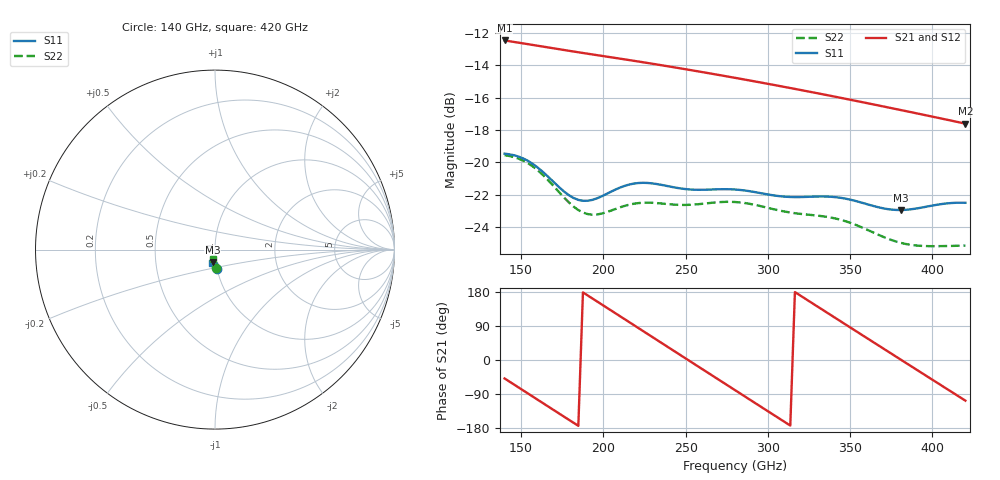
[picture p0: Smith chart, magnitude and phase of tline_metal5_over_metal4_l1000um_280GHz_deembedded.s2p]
! Created with skrf 2.0.1 (http://scikit-rf.org).
# GHz S DB R 50.0
!freq dBS11 angS11 dBS21 angS21 dBS12 angS12 dBS22 angS22
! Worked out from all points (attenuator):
!   101 points, 140 GHz to 420 GHz, reference 50 ohm
!   highest |S21| = -12.45 dB at 140 GHz (marker M1); lowest = -17.6 dB at 420 GHz (marker M2)
!   lowest |S11| = -23.0 dB at 380.8 GHz (marker M3), VSWR 1.15, Z = 48.3 - j6.81 ohm
!   |S11| at or under -10 dB: start of sweep to end of sweep
!   |S22| runs from -25.2 to -19.6 dB; largest |S21 - S12| = 1.8e-13
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140  -19.47 -83.8  -12.45 -48.8  -12.45 -48.8  -19.56 -85.9
151.2  -19.76 -87.3  -12.63 -80.0  -12.63 -80.0  -19.89 -89.8
162.4  -20.52 -90.9  -12.81 -111.3  -12.81 -111.3  -20.70 -94.1
176.4  -21.84 -90.4  -13.04 -150.4  -13.04 -150.4  -22.21 -95.1
187.6  -22.39 -85.4  -13.22 178.4  -13.22 178.4  -23.11 -90.7
198.8  -22.12 -81.2  -13.40 147.2  -13.40 147.2  -23.18 -85.5
212.8  -21.47 -81.7  -13.62 108.1  -13.62 108.1  -22.71 -84.0
224  -21.27 -84.9  -13.80 76.8  -13.80 76.8  -22.51 -85.7
235.2  -21.40 -87.7  -13.98 45.5  -13.98 45.5  -22.55 -87.7
254.8  -21.70 -89.6  -14.32 -9.2  -14.32 -9.2  -22.62 -89.3
268.8  -21.68 -90.9  -14.56 -48.3  -14.56 -48.3  -22.48 -91.4
280  -21.69 -92.8  -14.76 -79.5  -14.76 -79.5  -22.46 -94.2
291.2  -21.83 -94.7  -14.97 -110.7  -14.97 -110.7  -22.62 -97.2
305.2  -22.08 -96.0  -15.24 -149.7  -15.24 -149.7  -22.95 -99.7
316.4  -22.16 -96.3  -15.45 179.2  -15.45 179.2  -23.16 -101.0
327.6  -22.13 -97.1  -15.67 148.1  -15.67 148.1  -23.28 -102.4
338.8  -22.14 -98.8  -15.89 117.0  -15.89 117.0  -23.44 -104.5
350  -22.32 -100.6  -16.12 86.0  -16.12 86.0  -23.75 -106.8
375.2  -22.93 -100.5  -16.65 16.3  -16.65 16.3  -24.82 -107.5
380.8  -22.96 -99.7  -16.76 0.8  -16.76 0.8  -25.00 -106.7
403.2  -22.63 -98.9  -17.24 -61.0  -17.24 -61.0  -25.20 -103.2
420  -22.51 -100.9  -17.61 -107.3  -17.61 -107.3  -25.16 -101.5
